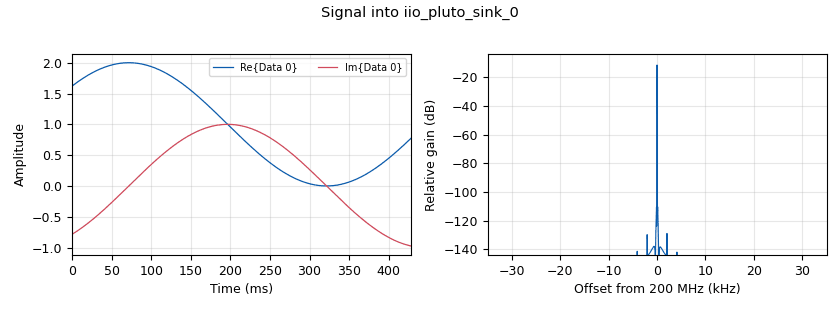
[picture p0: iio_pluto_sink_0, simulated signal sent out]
options:
  parameters:
    author: slamnia
    generate_options: qt_gui
    id: Emission_AM
    output_language: python
    title: Emission_AM
  states: {}

blocks:
- name: amplitude
  id: variable_qtgui_range
  parameters:
    start: '0'
    step: '0.1'
    stop: '5'
    value: '1'
  states: {}
- name: center_freq
  id: variable
  parameters:
    value: '200000000'
  states: {}
- name: composante_continue
  id: variable_qtgui_range
  parameters:
    start: '-5'
    step: '0.1'
    stop: '5'
    value: '1'
  states: {state: disabled}
- name: freq_carrier
  id: variable
  parameters:
    value: '100'
  states: {}
- name: freq_filtre
  id: variable_qtgui_range
  parameters:
    start: '20'
    step: '1'
    stop: '20000'
    value: '40'
  states: {state: disabled}
- name: freq_modulant
  id: variable_qtgui_range
  parameters:
    start: '20'
    step: '20'
    stop: '20000'
    value: '40'
  states: {state: disabled}
- name: gain_filtre
  id: variable_qtgui_range
  parameters:
    start: '1'
    step: '1'
    stop: '1000'
    value: '1'
  states: {state: disabled}
- name: indice_mod
  id: variable_qtgui_range
  parameters:
    start: '-1'
    step: '0.05'
    stop: '2'
    value: '1'
  states: {}
- name: samp_rate
  id: variable
  parameters:
    value: '70000'
  states: {}
- name: transition_width
  id: variable_qtgui_range
  parameters:
    start: '1'
    step: '1'
    stop: '100'
    value: '1'
  states: {state: disabled}
- name: analog_const_source_x_0
  id: analog_const_source_x
  parameters:
    const: indice_mod
    type: complex
  states: {}
- name: analog_sig_source_x_0
  id: analog_sig_source_x
  parameters:
    amp: '1'
    freq: '2'
    offset: '0'
    phase: '0'
    samp_rate: samp_rate
    type: complex
    waveform: analog.GR_COS_WAVE
  states: {}
- name: analog_sig_source_x_0_0
  id: analog_sig_source_x
  parameters:
    amp: amplitude
    freq: freq_carrier
    offset: '0'
    phase: '0'
    samp_rate: samp_rate
    type: complex
    waveform: analog.GR_COS_WAVE
  states: {state: disabled}
- name: analog_sig_source_x_0_0_0
  id: analog_sig_source_x
  parameters:
    amp: amplitude
    freq: '-freq_carrier*1.1'
    offset: '0'
    phase: '0'
    samp_rate: samp_rate
    type: complex
    waveform: analog.GR_COS_WAVE
  states: {state: disabled}
- name: audio_sink_0
  id: audio_sink
  parameters:
    samp_rate: '44100'
  states: {state: disabled}
- name: blocks_add_xx_0
  id: blocks_add_xx
  parameters:
    type: complex
  states: {}
- name: blocks_complex_to_float_0
  id: blocks_complex_to_float
  parameters: {}
  states: {state: disabled}
- name: blocks_float_to_complex_0
  id: blocks_float_to_complex
  parameters: {}
  states: {state: disabled}
- name: blocks_multiply_const_vxx_0
  id: blocks_multiply_const_vxx
  parameters:
    const: amplitude
    type: complex
  states: {state: disabled}
- name: blocks_multiply_xx_0
  id: blocks_multiply_xx
  parameters:
    type: complex
  states: {state: disabled}
- name: blocks_multiply_xx_0_0
  id: blocks_multiply_xx
  parameters:
    type: complex
  states: {state: disabled}
- name: blocks_wavfile_source_0
  id: blocks_wavfile_source
  parameters:
    file: /home/slamnia/Téléchargements/Best of des pires blagues de jamy.wav
    repeat: 'True'
  states: {state: disabled}
- name: dc_blocker_xx_0
  id: dc_blocker_xx
  parameters:
    length: '32'
    long_form: 'True'
    type: cc
  states: {state: disabled}
- name: iio_pluto_sink_0
  id: iio_pluto_sink
  parameters:
    attenuation1: '0'
    bandwidth: '200000'
    buffer_size: '32768'
    cyclic: 'False'
    filter_source: '''Auto'''
    frequency: center_freq
    samplerate: samp_rate
    type: fc32
  states: {}
- name: low_pass_filter_0
  id: low_pass_filter
  parameters:
    cutoff_freq: freq_filtre
    decim: '1'
    gain: gain_filtre
    samp_rate: samp_rate
    type: fir_filter_ccf
    width: transition_width
    win: firdes.WIN_HAMMING
  states: {state: disabled}
- name: qtgui_freq_sink_x_0
  id: qtgui_freq_sink_x
  parameters:
    bw: samp_rate
    fc: '0'
    fftsize: '1024'
    type: complex
  states: {state: disabled}
- name: qtgui_sink_x_0
  id: qtgui_sink_x
  parameters:
    bw: samp_rate
    fc: '0'
    fftsize: '1024'
    type: complex
  states: {state: disabled}
- name: qtgui_time_sink_x_0
  id: qtgui_time_sink_x
  parameters:
    color1: green
    ctrlpanel: 'True'
    size: '1024'
    srate: samp_rate
    type: complex
  states: {state: disabled}
- name: rational_resampler_xxx_0
  id: rational_resampler_xxx
  parameters:
    decim: '1000'
    interp: '441'
    taps: ''
    type: ccf
  states: {state: disabled}
- name: rational_resampler_xxx_0_0
  id: rational_resampler_xxx
  parameters:
    decim: '441'
    interp: '1000'
    taps: ''
    type: ccf
  states: {state: disabled}

connections:
- [analog_const_source_x_0, '0', blocks_add_xx_0, '1']
- [analog_sig_source_x_0, '0', blocks_add_xx_0, '0']
- [analog_sig_source_x_0_0, '0', blocks_multiply_xx_0, '1']
- [analog_sig_source_x_0_0_0, '0', blocks_multiply_xx_0_0, '1']
- [blocks_add_xx_0, '0', blocks_multiply_xx_0, '0']
- [blocks_add_xx_0, '0', iio_pluto_sink_0, '0']
- [blocks_add_xx_0, '0', qtgui_sink_x_0, '0']
- [blocks_complex_to_float_0, '0', audio_sink_0, '0']
- [blocks_float_to_complex_0, '0', rational_resampler_xxx_0_0, '0']
- [blocks_multiply_const_vxx_0, '0', blocks_complex_to_float_0, '0']
- [blocks_multiply_xx_0, '0', blocks_multiply_xx_0_0, '0']
- [blocks_multiply_xx_0, '0', iio_pluto_sink_0, '0']
- [blocks_wavfile_source_0, '0', blocks_float_to_complex_0, '0']
- [dc_blocker_xx_0, '0', qtgui_freq_sink_x_0, '0']
- [dc_blocker_xx_0, '0', qtgui_time_sink_x_0, '0']
- [dc_blocker_xx_0, '0', rational_resampler_xxx_0, '0']
- [low_pass_filter_0, '0', dc_blocker_xx_0, '0']
- [low_pass_filter_0, '0', rational_resampler_xxx_0, '0']
- [rational_resampler_xxx_0, '0', blocks_multiply_const_vxx_0, '0']
- [rational_resampler_xxx_0_0, '0', blocks_add_xx_0, '0']
- [rational_resampler_xxx_0_0, '0', blocks_multiply_xx_0, '0']

metadata:
  file_format: 1
  grc_version: 3.10.8.0
